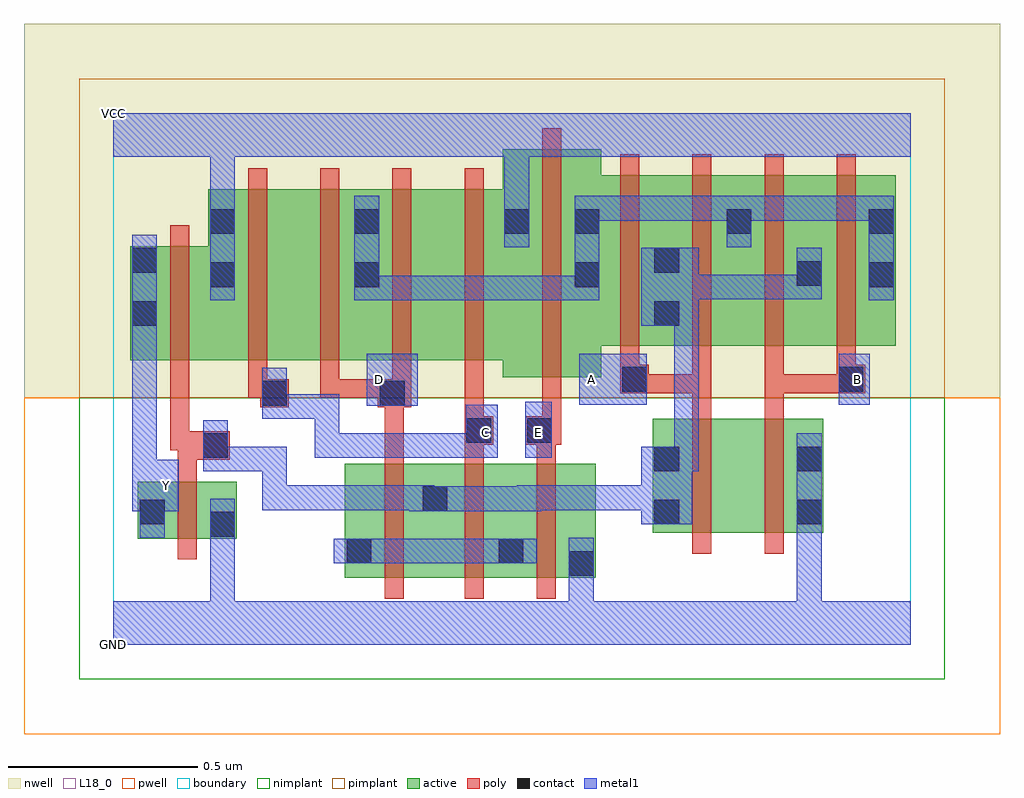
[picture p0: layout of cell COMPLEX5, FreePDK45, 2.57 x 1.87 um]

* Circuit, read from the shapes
.subckt COMPLEX5 A B C D E GND VCC Y
M1 GND n1 Y VSUBS nfet w=0.15u l=0.05u
M2 n1 D n2 VSUBS nfet w=0.3u l=0.05u
M3 n2 C n1 VSUBS nfet w=0.3u l=0.05u
M4 GND E n2 VSUBS nfet w=0.3u l=0.05u
M5 n3 A n1 VSUBS nfet w=0.3u l=0.05u
M6 GND B n3 VSUBS nfet w=0.3u l=0.05u
M7 VCC n1 Y n4 pfet w=0.3u l=0.05u
M8 n5 C VCC n4 pfet w=0.45u l=0.05u
M9 n6 D n5 n4 pfet w=0.45u l=0.05u
M10 n7 D n6 n4 pfet w=0.45u l=0.05u
M11 VCC C n7 n4 pfet w=0.45u l=0.05u
M12 n6 E VCC n4 pfet w=0.6u l=0.05u
M13 n1 A n6 n4 pfet w=0.45u l=0.05u m=2
M14 n1 B n6 n4 pfet w=0.45u l=0.05u m=2
.ends

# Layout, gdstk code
import gdstk
lib = gdstk.Library(unit=1e-6, precision=1e-09)
def R(c, l, rs):  # rectangles x0, y0, x1, y1
    for r in rs: c.add(gdstk.rectangle(r[:2], r[2:], *l))
def A(c, l, x, y, w, h, nx, ny, dx, dy):  # array of equal rectangles
    R(c, l, [(x+i*dx, y+j*dy, x+i*dx+w, y+j*dy+h) for i in range(nx) for j in range(ny)])
active = (1, 0)
pwell = (2, 0)
nwell = (3, 0)
nimplant = (4, 0)
pimplant = (5, 0)
poly = (9, 0)
contact = (10, 0)
metal1 = (11, 0)
L18_0 = (18, 0)
boundary = (235, 0)

complex5 = lib.new_cell('COMPLEX5')
R(complex5, active, [(0.61,0.177,0.885,0.477), (0.81,0.177,1.085,0.477), (1.01,0.177,1.27,0.477), (1.195,0.177,1.27,0.477), (1.01,0.2,1.085,0.397), (0.61,0.21,0.685,0.477), (0.065,0.28,0.14,0.43), (0.065,0.28,0.325,0.43), (0.25,0.28,0.325,0.43), (0.81,0.295,0.885,0.422), (1.42,0.295,1.495,0.595), (1.42,0.295,1.645,0.595), (1.645,0.295,1.87,0.595), (1.795,0.295,1.87,0.595), (1.025,0.705,1.285,1.305), (0.045,0.75,0.12,1.05), (0.045,0.75,0.325,1.05), (0.25,0.75,0.475,1.2), (0.25,0.75,0.325,1.152), (0.475,0.75,0.705,1.2), (0.63,0.75,0.855,1.2), (0.63,0.75,0.705,1.165), (0.855,0.75,1.1,1.2), (1.21,0.787,1.495,1.237), (1.21,0.787,1.285,1.2), (1.42,0.787,1.685,1.237), (1.42,0.787,1.495,1.07), (1.61,0.787,1.685,1.155), (1.61,0.787,1.87,1.237), (1.795,0.787,2.06,1.237), (1.795,0.787,1.87,1.07), (1.985,0.787,2.06,1.155), (1.025,0.817,1.1,1.155)])
R(complex5, pwell, [(-0.235,-0.235,2.335,0.65)])
R(complex5, nwell, [(-0.235,0.65,2.335,1.635)])
R(complex5, nimplant, [(-0.09,-0.09,2.19,0.65)])
R(complex5, pimplant, [(-0.09,0.65,2.19,1.49)])
A(complex5, poly, 0.355, 0.65, 0.05, 0.095, 3, 1, 0.19, 0)
A(complex5, poly, 0.355, 0.695, 0.05, 0.56, 4, 1, 0.19, 0)
A(complex5, poly, 1.335, 0.732, 0.05, 0.56, 4, 1, 0.19, 0)
R(complex5, poly, [(0.715,0.122,0.765,0.532), (0.925,0.122,0.975,0.532), (1.115,0.122,1.165,0.532), (0.17,0.225,0.22,0.485), (1.525,0.24,1.575,0.65), (1.715,0.24,1.765,0.65), (0.17,0.435,0.22,0.537), (0.715,0.482,0.765,0.675), (0.925,0.482,0.975,0.577), (1.115,0.482,1.165,0.577), (0.17,0.487,0.307,0.562), (0.15,0.512,0.2,0.745), (0.15,0.512,0.22,0.562), (0.17,0.512,0.22,0.562), (0.925,0.527,1,0.602), (1.085,0.527,1.18,0.602), (1.115,0.527,1.165,0.577), (1.115,0.527,1.165,0.577), (0.925,0.552,0.975,0.602), (0.925,0.552,0.975,0.602), (0.925,0.552,0.975,0.745), (1.13,0.552,1.18,0.7), (1.525,0.6,1.575,0.712), (1.715,0.6,1.765,0.712), (0.387,0.625,0.462,0.7), (0.697,0.625,0.785,0.7), (0.715,0.625,0.765,0.675), (0.715,0.625,0.765,0.675), (0.355,0.65,0.437,0.7), (0.387,0.65,0.437,0.7), (0.545,0.65,0.595,0.7), (0.545,0.65,0.747,0.7), (0.697,0.65,0.747,0.7), (0.697,0.65,0.747,0.7), (1.13,0.65,1.18,1.36), (1.335,0.662,1.41,0.737), (1.36,0.662,1.575,0.712), (1.525,0.662,1.575,0.712), (1.525,0.662,1.575,0.712), (1.525,0.662,1.575,0.712), (1.525,0.662,1.575,0.712), (1.525,0.662,1.575,0.712), (1.525,0.662,1.575,0.782), (1.715,0.662,1.765,0.712), (1.715,0.662,1.765,0.712), (1.715,0.662,1.765,0.712), (1.715,0.662,1.955,0.712), (1.715,0.662,1.765,0.782), (1.905,0.662,1.955,0.712), (1.905,0.662,1.955,0.712), (1.905,0.662,1.98,0.737), (1.335,0.687,1.385,0.782), (1.905,0.687,1.955,0.782), (0.15,0.695,0.2,1.105)])
R(complex5, contact, [(1.2,0.182,1.265,0.247), (0.615,0.215,0.68,0.28), (1.015,0.215,1.08,0.28), (0.255,0.285,0.32,0.35), (0.07,0.317,0.135,0.382), (1.425,0.317,1.49,0.382), (1.8,0.317,1.865,0.382), (0.815,0.352,0.88,0.417), (1.425,0.457,1.49,0.522), (1.8,0.457,1.865,0.522), (0.237,0.492,0.302,0.557), (0.93,0.532,0.995,0.597), (1.09,0.532,1.155,0.597), (0.392,0.63,0.457,0.695), (0.702,0.63,0.767,0.695), (1.34,0.667,1.405,0.732), (1.91,0.667,1.975,0.732), (0.05,0.84,0.115,0.905), (1.425,0.84,1.49,0.905), (0.255,0.942,0.32,1.007), (0.635,0.942,0.7,1.007), (1.215,0.942,1.28,1.007), (1.99,0.942,2.055,1.007), (1.8,0.945,1.865,1.01), (0.05,0.98,0.115,1.045), (1.425,0.98,1.49,1.045), (0.255,1.082,0.32,1.147), (0.635,1.082,0.7,1.147), (1.03,1.082,1.095,1.147), (1.215,1.082,1.28,1.147), (1.615,1.082,1.68,1.147), (1.99,1.082,2.055,1.147)])
R(complex5, metal1, [(0,0,2.1,0.115), (0.255,0.05,0.32,0.115), (0.255,0.05,0.32,0.115), (0.255,0.05,0.32,0.115), (0.255,0.05,0.32,0.115), (0.255,0.05,0.32,0.315), (1.2,0.05,1.265,0.212), (1.8,0.05,1.865,0.115), (1.8,0.05,1.865,0.115), (1.8,0.05,1.865,0.347), (1.2,0.147,1.265,0.212), (1.2,0.147,1.265,0.212), (1.2,0.147,1.265,0.282), (0.58,0.215,0.715,0.28), (0.65,0.215,0.852,0.28), (0.787,0.215,0.852,0.28), (0.787,0.215,0.852,0.28), (0.787,0.215,0.852,0.28), (0.787,0.215,0.99,0.28), (0.925,0.215,0.99,0.28), (0.925,0.215,1.045,0.28), (0.98,0.215,1.115,0.28), (0.255,0.25,0.32,0.385), (0.07,0.282,0.135,0.417), (1.8,0.282,1.865,0.557), (1.39,0.317,1.525,0.522), (0.05,0.352,0.172,0.487), (0.07,0.352,0.135,0.417), (0.78,0.352,0.845,0.417), (0.78,0.352,0.845,0.42), (0.78,0.352,0.915,0.417), (0.85,0.352,0.99,0.417), (0.925,0.352,0.99,0.417), (0.925,0.352,1.052,0.417), (0.987,0.352,1.052,0.417), (0.987,0.352,1.127,0.417), (1.062,0.352,1.127,0.42), (0.392,0.355,0.595,0.42), (0.392,0.355,0.457,0.522), (0.53,0.355,0.595,0.42), (0.53,0.355,0.595,0.42), (0.53,0.355,0.595,0.42), (0.53,0.355,0.845,0.42), (1.062,0.355,1.317,0.42), (1.252,0.355,1.317,0.42), (1.252,0.355,1.317,0.42), (1.252,0.355,1.317,0.42), (1.252,0.355,1.455,0.42), (0.05,0.422,0.115,0.487), (0.05,0.422,0.115,0.487), (0.05,0.422,0.115,0.87), (0.237,0.457,0.302,0.592), (0.237,0.457,0.31,0.522), (0.245,0.457,0.31,0.522), (0.245,0.457,0.31,0.522), (0.245,0.457,0.31,0.522), (0.245,0.457,0.44,0.522), (0.375,0.457,0.44,0.522), (0.375,0.457,0.457,0.522), (1.46,0.457,1.525,0.522), (1.46,0.457,1.542,0.522), (1.477,0.457,1.542,0.905), (0.53,0.492,0.852,0.557), (0.53,0.492,0.595,0.66), (0.787,0.492,0.852,0.557), (0.787,0.492,0.852,0.557), (0.787,0.492,0.852,0.557), (0.787,0.492,0.995,0.557), (0.93,0.492,1.012,0.632), (1.085,0.492,1.155,0.64), (0.392,0.595,0.457,0.66), (0.392,0.595,0.457,0.66), (0.392,0.595,0.595,0.66), (0.392,0.595,0.457,0.73), (0.53,0.595,0.595,0.66), (0.53,0.595,0.595,0.66), (0.667,0.63,0.802,0.767), (1.227,0.632,1.405,0.767), (1.91,0.632,1.992,0.767), (0.05,0.805,0.115,1.08), (1.39,0.84,1.542,1.045), (1.477,0.84,1.542,0.905), (1.477,0.84,1.542,0.905), (0.255,0.907,0.32,1.182), (0.635,0.907,0.7,1.182), (0.635,0.907,0.732,0.972), (0.667,0.907,0.732,0.972), (0.667,0.907,0.907,0.972), (0.842,0.907,0.907,0.972), (0.842,0.907,0.99,0.972), (0.925,0.907,0.99,0.972), (0.925,0.907,1.127,0.972), (1.062,0.907,1.127,0.972), (1.062,0.907,1.127,0.972), (1.062,0.907,1.127,0.972), (1.062,0.907,1.28,0.972), (1.215,0.907,1.28,1.182), (1.99,0.907,2.055,1.182), (1.477,0.91,1.542,0.975), (1.477,0.91,1.542,0.975), (1.477,0.91,1.727,0.975), (1.662,0.91,1.727,0.975), (1.662,0.91,1.727,0.975), (1.662,0.91,1.727,0.975), (1.662,0.91,1.865,0.975), (1.8,0.91,1.865,1.045), (1.03,1.047,1.095,1.182), (1.615,1.047,1.68,1.182), (0.255,1.117,0.32,1.35), (1.03,1.117,1.095,1.35), (1.215,1.117,1.28,1.182), (1.215,1.117,1.28,1.182), (1.215,1.117,1.28,1.182), (1.215,1.117,1.28,1.182), (1.215,1.117,1.542,1.182), (1.477,1.117,1.542,1.182), (1.477,1.117,1.542,1.182), (1.477,1.117,1.542,1.182), (1.477,1.117,1.68,1.182), (1.615,1.117,1.68,1.182), (1.615,1.117,1.68,1.182), (1.615,1.117,1.865,1.182), (1.8,1.117,1.865,1.182), (1.8,1.117,2.055,1.182), (1.99,1.117,2.055,1.182), (1.99,1.117,2.055,1.182), (0,1.285,2.1,1.4)])
R(complex5, L18_0, [(0,0,2.1,0.115), (0.255,0.05,0.32,0.115), (0.255,0.05,0.32,0.115), (0.255,0.05,0.32,0.115), (0.255,0.05,0.32,0.115), (0.255,0.05,0.32,0.315), (1.2,0.05,1.265,0.212), (1.8,0.05,1.865,0.115), (1.8,0.05,1.865,0.115), (1.8,0.05,1.865,0.347), (1.2,0.147,1.265,0.282), (1.2,0.147,1.265,0.212), (1.2,0.147,1.265,0.212), (0.255,0.25,0.32,0.385), (0.07,0.282,0.135,0.417), (1.8,0.282,1.865,0.557), (0.05,0.352,0.172,0.487), (0.07,0.352,0.135,0.417), (0.107,0.387,0.172,0.452), (0.05,0.422,0.115,0.487), (0.05,0.422,0.115,0.487), (0.05,0.422,0.115,0.87), (0.53,0.492,0.595,0.66), (0.53,0.492,0.852,0.557), (0.787,0.492,0.852,0.557), (0.787,0.492,0.852,0.557), (0.787,0.492,0.852,0.557), (0.787,0.492,0.995,0.557), (0.93,0.492,1.012,0.632), (1.085,0.492,1.155,0.64), (0.947,0.527,1.012,0.592), (1.087,0.527,1.152,0.592), (0.392,0.595,0.457,0.73), (0.392,0.595,0.457,0.66), (0.392,0.595,0.457,0.66), (0.392,0.595,0.595,0.66), (0.53,0.595,0.595,0.66), (0.53,0.595,0.595,0.66), (0.667,0.63,0.802,0.767), (1.227,0.632,1.405,0.767), (1.91,0.632,1.992,0.767), (0.667,0.667,0.732,0.732), (1.227,0.667,1.292,0.732), (1.927,0.667,1.992,0.732), (0.05,0.805,0.115,1.08), (0.255,0.907,0.32,1.182), (1.03,1.047,1.095,1.182), (0.255,1.117,0.32,1.35), (1.03,1.117,1.095,1.35), (0,1.285,2.1,1.4)])
R(complex5, boundary, [(0,0,2.1,1.4)])
complex5.add(gdstk.Label('A', (1.26,0.7), layer=11, texttype=0))
complex5.add(gdstk.Label('B', (1.96,0.7), layer=11, texttype=0))
complex5.add(gdstk.Label('C', (0.98,0.56), layer=11, texttype=0))
complex5.add(gdstk.Label('D', (0.7,0.7), layer=11, texttype=0))
complex5.add(gdstk.Label('E', (1.12,0.56), layer=11, texttype=0))
complex5.add(gdstk.Label('Y', (0.14,0.42), layer=11, texttype=0))
complex5.add(gdstk.Label('VCC', (0,1.4), layer=11, texttype=0))
complex5.add(gdstk.Label('GND', (0,0), layer=11, texttype=0))

lib.write_gds('COMPLEX5.gds')
